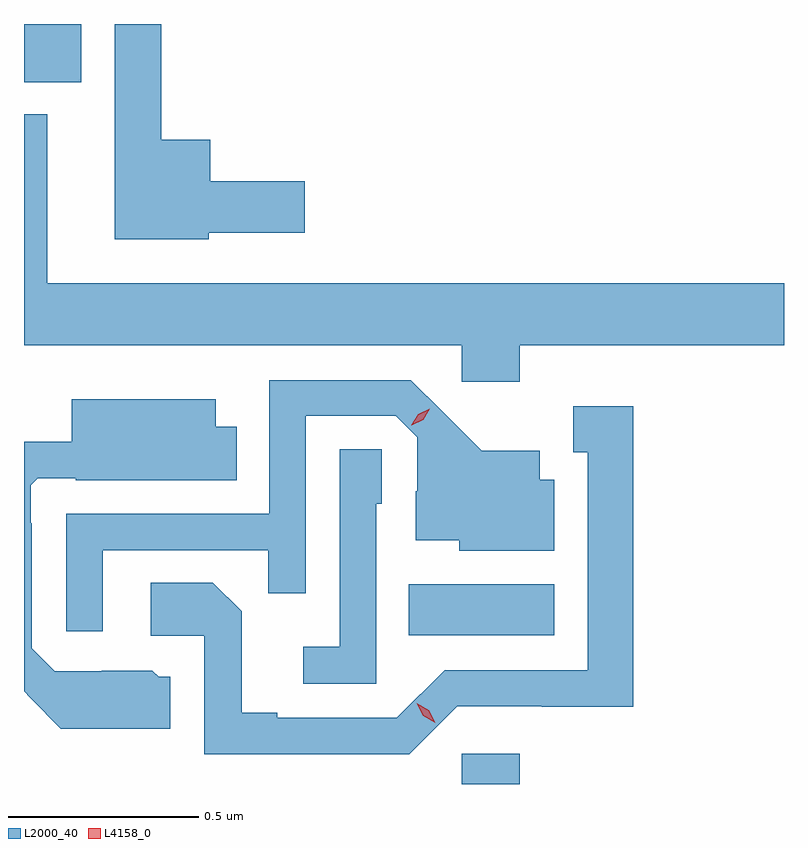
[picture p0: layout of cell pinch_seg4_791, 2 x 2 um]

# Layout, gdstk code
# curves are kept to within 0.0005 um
import gdstk
lib = gdstk.Library(unit=1e-6, precision=1e-09)
def R(c, l, rs):  # rectangles x0, y0, x1, y1
    for r in rs: c.add(gdstk.rectangle(r[:2], r[2:], *l))
def P(c, l, *ps):  # polygons
    for p in ps: c.add(gdstk.Polygon(p, *l))
L2000_40 = (2000, 40)
L4158_0 = (4158, 0)

pinch_seg4_791 = lib.new_cell('pinch_seg4_791')
R(pinch_seg4_791, L2000_40, [(798.846,822.306,798.998,822.385), (798.706,822.698,799.09,822.832), (797.694,824.153,797.845,824.306)])
P(pinch_seg4_791, L2000_40, [(798.18,823.757),(798.433,823.757),(798.433,823.892),(798.184,823.892),(798.184,824.002),(798.055,824.002),(798.055,824.306),(797.933,824.306),(797.933,823.739),(798.18,823.739)],
  [(798.998,823.46),(799.694,823.46),(799.694,823.624),(797.755,823.624),(797.755,824.068),(797.694,824.068),(797.694,823.46),(798.846,823.46),(798.846,823.365),(798.998,823.365)],
  [(797.901,822.921),(798.337,822.921),(798.337,822.808),(798.435,822.808),(798.435,823.275),(798.672,823.275),(798.729,823.218),(798.729,823.076),(798.725,823.076),(798.725,822.947),(798.84,822.947),(798.84,822.92),(799.09,822.92),(799.09,823.107),(799.051,823.107),(799.051,823.183),(798.899,823.183),(798.712,823.368),(798.339,823.368),(798.339,823.017),(797.805,823.017),(797.805,822.708),(797.901,822.708)],
  [(798.079,822.588),(798.048,822.588),(798.032,822.604),(797.898,822.604),(797.898,822.603),(797.775,822.603),(797.715,822.663),(797.715,822.992),(797.712,822.992),(797.712,823.092),(797.73,823.11),(797.83,823.11),(797.83,823.106),(798.254,823.106),(798.254,823.246),(798.199,823.246),(798.199,823.318),(797.819,823.318),(797.819,823.207),(797.694,823.207),(797.694,822.55),(797.791,822.452),(798.079,822.452)],
  [(798.834,822.51),(799.056,822.51),(799.056,822.509),(799.297,822.509),(799.297,823.3),(799.139,823.3),(799.139,823.179),(799.178,823.179),(799.178,822.606),(798.801,822.606),(798.675,822.48),(798.361,822.48),(798.361,822.493),(798.267,822.493),(798.267,822.76),(798.191,822.836),(798.027,822.836),(798.027,822.696),(798.168,822.696),(798.168,822.384),(798.708,822.384)],
  [(798.621,823.044),(798.636,823.044),(798.636,823.187),(798.525,823.187),(798.525,822.667),(798.429,822.667),(798.429,822.57),(798.621,822.57)])
P(pinch_seg4_791, L4158_0, [(798.713,823.25),(798.713,823.25),(798.731,823.279),(798.762,823.294),(798.762,823.294),(798.762,823.294),(798.745,823.265),(798.714,823.25)],
  [(798.776,822.467),(798.744,822.486),(798.727,822.519),(798.727,822.519),(798.727,822.519),(798.759,822.5),(798.776,822.467),(798.776,822.467)])

lib.write_gds('pinch_seg4_791.gds')
